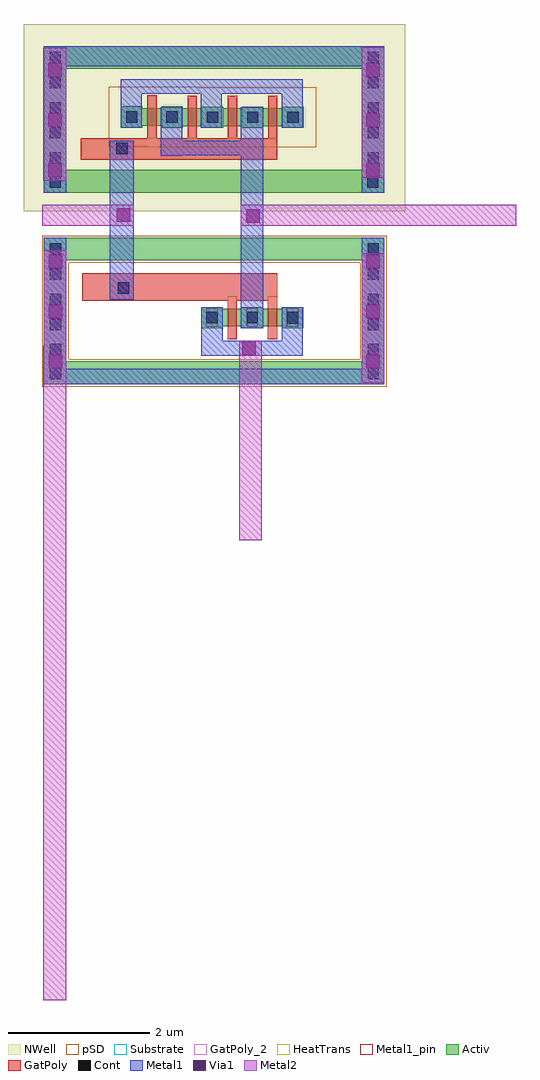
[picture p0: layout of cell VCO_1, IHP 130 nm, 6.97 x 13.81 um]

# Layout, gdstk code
from math import pi, radians
import gdstk
lib = gdstk.Library(unit=1e-6, precision=5e-10)
def R(c, l, rs):  # rectangles x0, y0, x1, y1
    for r in rs: c.add(gdstk.rectangle(r[:2], r[2:], *l))
def A(c, l, x, y, w, h, nx, ny, dx, dy):  # array of equal rectangles
    R(c, l, [(x+i*dx, y+j*dy, x+i*dx+w, y+j*dy+h) for i in range(nx) for j in range(ny)])
Activ = (1, 0)
GatPoly = (5, 0)
GatPoly_2 = (5, 2)
Cont = (6, 0)
Metal1 = (8, 0)
Metal1_pin = (8, 2)
Metal2 = (10, 0)
pSD = (14, 0)
Via1 = (19, 0)
NWell = (31, 0)
Substrate = (40, 0)
HeatTrans = (51, 0)

pmos_2 = lib.new_cell('pmos$2')
R(pmos_2, Activ, [(0,0,0.3,0.3), (0.57,0,0.87,0.3), (0,0.025,0.87,0.275)])
R(pmos_2, GatPoly, [(0.37,-0.155,0.5,0.455), (0.37,-0.155,0.5,0.455)])
R(pmos_2, Cont, [(0.07,0.07,0.23,0.23), (0.64,0.07,0.8,0.23)])
R(pmos_2, Metal1, [(0.07,0.02,0.23,0.28), (0.07,0.02,0.23,0.28), (0.64,0.02,0.8,0.28), (0.64,0.02,0.8,0.28)])
R(pmos_2, pSD, [(-0.18,-0.275,1.05,0.575)])
R(pmos_2, NWell, [(-0.31,-0.31,1.18,0.61)])
R(pmos_2, Substrate, [(0.57,0,0.87,0.3)])
R(pmos_2, HeatTrans, [(0.37,-0.155,0.5,0.455)])
pmos_2.add(gdstk.Label('pmos', (0.435,0.15), layer=63, texttype=0))
pmos_2.add(gdstk.Label('pmos', (0.435,0.15), layer=51, texttype=0))

nmos_2 = lib.new_cell('nmos$2')
R(nmos_2, Activ, [(0,0,0.3,0.3), (0.57,0,0.87,0.3), (0,0.025,0.87,0.275)])
R(nmos_2, GatPoly, [(0.37,-0.155,0.5,0.455)])
R(nmos_2, GatPoly_2, [(0.37,-0.155,0.5,0.455)])
R(nmos_2, Cont, [(0.07,0.07,0.23,0.23), (0.64,0.07,0.8,0.23)])
R(nmos_2, Metal1, [(0.07,0.02,0.23,0.28), (0.64,0.02,0.8,0.28)])
R(nmos_2, Metal1_pin, [(0.07,0.02,0.23,0.28), (0.64,0.02,0.8,0.28)])
R(nmos_2, HeatTrans, [(0.37,-0.155,0.5,0.455)])
nmos_2.add(gdstk.Label('nmos', (0.435,0.15), layer=63, texttype=0))
nmos_2.add(gdstk.Label('nmos', (0.435,0.15), layer=51, texttype=0))

t2_inverter = lib.new_cell('T2_Inverter')
R(t2_inverter, Activ, [(-4.36,-2.545,0.14,-2.22), (0.14,-2.545,0.46,-0.79), (-4.36,-2.22,-4.04,-0.47), (-4.04,-0.79,0.46,-0.47), (-4.36,0.17,0.14,0.49), (0.14,0.17,0.46,1.92), (-4.36,0.49,-4.04,2.24), (-4.04,1.92,0.46,2.24)])
R(t2_inverter, GatPoly, [(-3.82,-1.36,-1.06,-0.97), (-3.835,0.635,-1.055,0.935)])
A(t2_inverter, Cont, -4.275, -2.13, 0.16, 0.16, 1, 5, 0, 0.355)
A(t2_inverter, Cont, 0.22, -2.13, 0.16, 0.16, 1, 5, 0, 0.355)
A(t2_inverter, Cont, -4.28, 0.58, 0.16, 0.16, 1, 5, 0, 0.355)
A(t2_inverter, Cont, 0.22, 0.58, 0.16, 0.16, 1, 5, 0, 0.355)
R(t2_inverter, Cont, [(-4.275,-2.475,-4.115,-2.31), (0.22,-2.475,0.38,-2.31), (-0.92,-1.685,-0.76,-1.525), (-2.06,-1.68,-1.9,-1.52), (-1.49,-1.68,-1.33,-1.52), (-3.315,-1.26,-3.155,-1.1), (-4.28,0.24,-4.12,0.4), (0.215,0.24,0.375,0.4), (-3.335,0.715,-3.175,0.875)])
R(t2_inverter, Metal1, [(-4.36,-2.545,-4.04,-0.47), (-4.36,-2.545,-4.04,-0.47), (-4.04,-2.545,0.14,-2.325), (0.14,-2.545,0.46,-0.47), (-2.13,-2.14,-1.83,-1.45), (-1.835,-2.14,-0.995,-1.93), (-0.995,-2.14,-0.695,-1.45), (-1.575,-1.75,-1.255,1.38), (-3.43,-1.345,-3.09,0.9), (-4.36,0.17,-4.04,2.24), (0.14,0.17,0.46,2.24), (-2.705,0.69,-2.405,1.38), (-2.415,0.695,-1.575,0.905), (-3.275,1.085,-2.975,1.775), (-0.995,1.085,-0.695,1.775), (-2.14,1.09,-1.84,1.775), (-2.975,1.565,-2.14,1.775), (-1.84,1.565,-0.995,1.775), (-4.04,1.96,0.14,2.24)])
R(t2_inverter, Metal2, [(-4.365,-11.2555,-4.04,-1.995), (-4.36,-2.52,-4.04,-0.645), (0.14,-2.52,0.46,-0.69), (-4.385,-0.3,-3.09,0), (-1.575,-0.3,2.325,0), (-4.365,0.335,-4.045,2.22), (0.14,0.38,0.46,2.225)])
R(t2_inverter, pSD, [(-4.385,-2.575,0.115,-2.19), (0.115,-2.575,0.495,-0.82), (-4.385,-2.19,-4.005,-0.44), (-4.005,-0.82,0.495,-0.44)])
R(t2_inverter, Via1, [(-4.29,-2.315,-4.1,-2.125), (0.205,-2.315,0.395,-2.125), (-1.555,-2.13,-1.365,-1.94), (-4.29,-1.61,-4.1,-1.42), (0.205,-1.61,0.395,-1.42), (-4.29,-0.9,-4.1,-0.71), (0.205,-0.9,0.395,-0.71), (-1.495,-0.255,-1.305,-0.065), (-3.325,-0.24,-3.135,-0.05), (-4.295,0.395,-4.105,0.585), (0.205,0.395,0.395,0.585), (-4.295,1.1,-4.105,1.29), (0.205,1.1,0.395,1.29), (-4.295,1.81,-4.105,2), (0.205,1.81,0.395,2)])
R(t2_inverter, NWell, [(-4.645,-0.095,0.755,2.555)])
t2_inverter.add(gdstk.Reference(pmos_2, (-3.265,1.09)))
t2_inverter.add(gdstk.Reference(pmos_2, (-2.695,1.085)))
t2_inverter.add(gdstk.Reference(pmos_2, (-1.555,1.085)))
t2_inverter.add(gdstk.Reference(pmos_2, (-2.125,1.085)))
t2_inverter.add(gdstk.Reference(nmos_2, (-2.13,-1.75)))
t2_inverter.add(gdstk.Reference(nmos_2, (-1.56,-1.75)))

nmos_bulk = lib.new_cell('nmos_bulk')
R(nmos_bulk, Metal2, [(2.575,0.07,2.895,2.89)])

pmos_bulk = lib.new_cell('pmos_bulk')

vco_1 = lib.new_cell('VCO_1')
vco_1.add(gdstk.Reference(t2_inverter, (0.31,0.12)))
vco_1.add(gdstk.Reference(nmos_bulk, (-3.86,-1.74), x_reflection=True))
vco_1.add(gdstk.Reference(pmos_bulk, (1.225,10.755), rotation=pi, x_reflection=True))

lib.write_gds('VCO_1.gds')
